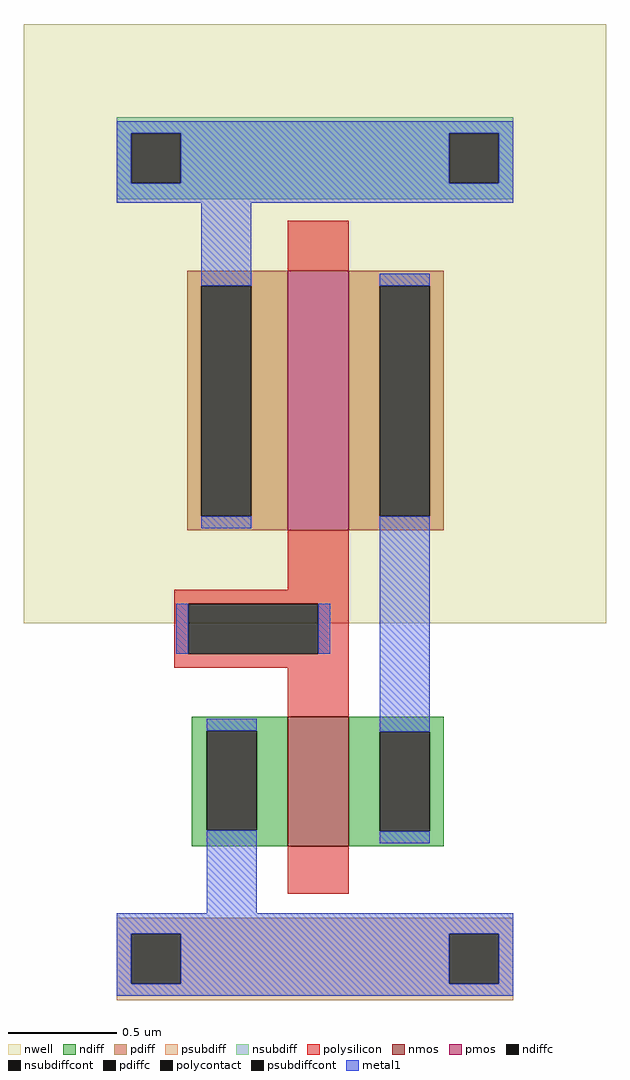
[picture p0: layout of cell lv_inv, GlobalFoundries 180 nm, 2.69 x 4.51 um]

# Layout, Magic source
magic
tech gf180mcuD
magscale 1 10
<< nwell >>
rect 15980 51147 16518 51701
<< nmos >>
rect 16224 50941 16280 51061
<< pmos >>
rect 16224 51233 16280 51473
<< ndiff >>
rect 16135 51048 16224 51061
rect 16135 50956 16149 51048
rect 16195 50956 16224 51048
rect 16135 50941 16224 50956
rect 16280 51047 16368 51061
rect 16280 50955 16309 51047
rect 16355 50955 16368 51047
rect 16280 50941 16368 50955
<< pdiff >>
rect 16131 51459 16224 51473
rect 16131 51246 16144 51459
rect 16190 51246 16224 51459
rect 16131 51233 16224 51246
rect 16280 51459 16368 51473
rect 16280 51246 16309 51459
rect 16355 51246 16368 51459
rect 16280 51233 16368 51246
<< ndiffc >>
rect 16149 50956 16195 51048
rect 16309 50955 16355 51047
<< pdiffc >>
rect 16144 51246 16190 51459
rect 16309 51246 16355 51459
<< psubdiff >>
rect 16066 50860 16432 50875
rect 16066 50814 16079 50860
rect 16125 50814 16373 50860
rect 16419 50814 16432 50860
rect 16066 50799 16432 50814
<< nsubdiff >>
rect 16066 51600 16432 51615
rect 16066 51554 16079 51600
rect 16125 51554 16373 51600
rect 16419 51554 16432 51600
rect 16066 51539 16432 51554
<< psubdiffcont >>
rect 16079 50814 16125 50860
rect 16373 50814 16419 50860
<< nsubdiffcont >>
rect 16079 51554 16125 51600
rect 16373 51554 16419 51600
<< polysilicon >>
rect 16224 51473 16280 51519
rect 16224 51178 16280 51233
rect 16119 51165 16280 51178
rect 16119 51119 16132 51165
rect 16252 51119 16280 51165
rect 16119 51106 16280 51119
rect 16224 51061 16280 51106
rect 16224 50897 16280 50941
<< polycontact >>
rect 16132 51119 16252 51165
<< metal1 >>
rect 16066 51600 16432 51611
rect 16066 51554 16079 51600
rect 16125 51554 16373 51600
rect 16419 51554 16432 51600
rect 16066 51536 16432 51554
rect 16144 51459 16190 51536
rect 16144 51235 16190 51246
rect 16309 51459 16355 51470
rect 16121 51119 16132 51165
rect 16252 51119 16263 51165
rect 16149 51048 16195 51059
rect 16149 50879 16195 50956
rect 16309 51047 16355 51246
rect 16309 50944 16355 50955
rect 16066 50860 16432 50879
rect 16066 50814 16079 50860
rect 16125 50814 16373 50860
rect 16419 50814 16432 50860
rect 16066 50803 16432 50814
<< end >>
